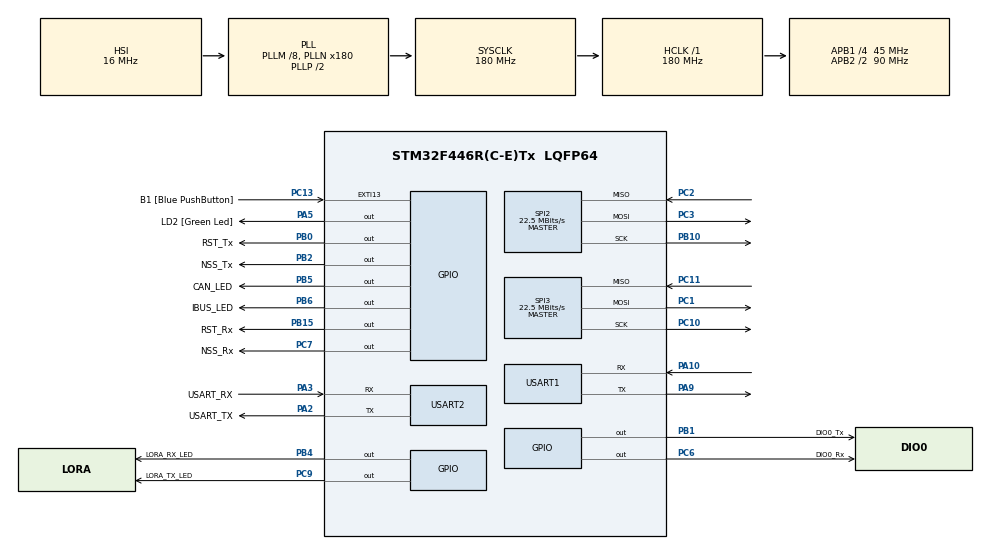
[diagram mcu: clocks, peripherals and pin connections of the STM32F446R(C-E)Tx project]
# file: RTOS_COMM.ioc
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Dma.Request0=USART1_RX
Dma.USART1_RX.0.Direction=DMA_PERIPH_TO_MEMORY
Dma.USART1_RX.0.FIFOMode=DMA_FIFOMODE_DISABLE
Dma.USART1_RX.0.Instance=DMA2_Stream2
Dma.USART1_RX.0.MemDataAlignment=DMA_MDATAALIGN_BYTE
Dma.USART1_RX.0.MemInc=DMA_MINC_ENABLE
Dma.USART1_RX.0.Mode=DMA_NORMAL
Dma.USART1_RX.0.PeriphDataAlignment=DMA_PDATAALIGN_BYTE
Dma.USART1_RX.0.PeriphInc=DMA_PINC_DISABLE
Dma.USART1_RX.0.Priority=DMA_PRIORITY_MEDIUM
FREERTOS.INCLUDE_vTaskDelayUntil=1
FREERTOS.INCLUDE_xTaskAbortDelay=1
FREERTOS.Tasks01=defaultTask,0,128,StartDefaultTask,Default,NULL,Dynamic,NULL,NULL;myTask02,2,1024,StartTask02,Default,NULL,Dynamic,NULL,NULL;myTask03,1,1024,StartTask03,Default,NULL,Dynamic,NULL,NULL;myTask04,0,1024,StartTask04,Default,NULL,Dynamic,NULL,NULL;myTask05,-2,128,StartTask05,Default,NULL,Dynamic,NULL,NULL
FREERTOS.configUSE_NEWLIB_REENTRANT=1
Mcu.Family=STM32F4
Mcu.Name=STM32F446R(C-E)Tx
Mcu.Package=LQFP64
NVIC.DMA2_Stream2_IRQn=true\:5\:0\:false\:false\:true\:true\:false\:true\:true
NVIC.PriorityGroup=NVIC_PRIORITYGROUP_4
NVIC.TIM1_UP_TIM10_IRQn=true\:15\:0\:false\:false\:true\:false\:false\:true\:true
NVIC.TimeBase=TIM1_UP_TIM10_IRQn
NVIC.TimeBaseIP=TIM1
PA10.Mode=Asynchronous
PA10.Signal=USART1_RX
PA13.GPIO_Label=TMS
PA13.Mode=Serial_Wire
PA13.Signal=SYS_JTMS-SWDIO
PA14.GPIO_Label=TCK
PA14.Mode=Serial_Wire
PA14.Signal=SYS_JTCK-SWCLK
PA2.GPIO_Label=USART_TX
PA2.Mode=Asynchronous
PA2.Signal=USART2_TX
PA3.GPIO_Label=USART_RX
PA3.Mode=Asynchronous
PA3.Signal=USART2_RX
PA5.GPIO_Label=LD2 [Green Led]
PA5.Signal=GPIO_Output
PA9.Mode=Asynchronous
PA9.Signal=USART1_TX
PB0.GPIO_Label=RST_Tx
PB0.Signal=GPIO_Output
PB1.GPIO_Label=DIO0_Tx
PB1.Signal=GPIO_Output
PB10.Mode=Full_Duplex_Master
PB10.Signal=SPI2_SCK
PB15.GPIO_Label=RST_Rx
PB15.Signal=GPIO_Output
PB2.GPIO_Label=NSS_Tx
PB2.Signal=GPIO_Output
PB3.GPIO_Label=SWO
PB3.Signal=SYS_JTDO-SWO
PB4.GPIO_Label=LORA_RX_LED
PB4.Signal=GPIO_Output
PB5.GPIO_Label=CAN_LED
PB5.Signal=GPIO_Output
PB6.GPIO_Label=IBUS_LED
PB6.Signal=GPIO_Output
PC1.Mode=Full_Duplex_Master
PC1.Signal=SPI3_MOSI
PC10.Mode=Full_Duplex_Master
PC10.Signal=SPI3_SCK
PC11.Mode=Full_Duplex_Master
PC11.Signal=SPI3_MISO
PC13.GPIO_Label=B1 [Blue PushButton]
PC13.GPIO_ModeDefaultEXTI=GPIO_MODE_IT_FALLING
PC13.Signal=GPXTI13
PC14-OSC32_IN.Mode=LSE-External-Oscillator
PC14-OSC32_IN.Signal=RCC_OSC32_IN
PC15-OSC32_OUT.Mode=LSE-External-Oscillator
PC15-OSC32_OUT.Signal=RCC_OSC32_OUT
PC2.Mode=Full_Duplex_Master
PC2.Signal=SPI2_MISO
PC3.Mode=Full_Duplex_Master
PC3.Signal=SPI2_MOSI
PC6.GPIO_Label=DIO0_Rx
PC6.Signal=GPIO_Output
PC7.GPIO_Label=NSS_Rx
PC7.Signal=GPIO_Output
PC9.GPIO_Label=LORA_TX_LED
PC9.Signal=GPIO_Output
PH0-OSC_IN.Mode=HSE-External-Oscillator
PH0-OSC_IN.Signal=RCC_OSC_IN
PH1-OSC_OUT.Mode=HSE-External-Oscillator
PH1-OSC_OUT.Signal=RCC_OSC_OUT
ProjectManager.HeapSize=0x200
ProjectManager.StackSize=0x400
ProjectManager.TargetToolchain=STM32CubeIDE
RCC.48MHZClocksFreq_Value=84000000
RCC.AHBFreq_Value=180000000
RCC.APB1CLKDivider=RCC_HCLK_DIV4
RCC.APB1Freq_Value=45000000
RCC.APB1TimFreq_Value=90000000
RCC.APB2CLKDivider=RCC_HCLK_DIV2
RCC.APB2Freq_Value=90000000
RCC.APB2TimFreq_Value=180000000
RCC.CortexFreq_Value=180000000
RCC.FLatency-AdvancedSettings=FLASH_LATENCY_5
RCC.HCLKFreq_Value=180000000
RCC.HSE_VALUE=8000000
RCC.HSI_VALUE=16000000
RCC.PLLM=8
RCC.PLLN=180
RCC.SYSCLKFreq_VALUE=180000000
RCC.SYSCLKSource=RCC_SYSCLKSOURCE_PLLCLK
RCC.USBFreq_Value=180000000
RCC.VCOOutputFreq_Value=360000000
SPI2.BaudRatePrescaler=SPI_BAUDRATEPRESCALER_2
SPI2.CalculateBaudRate=22.5 MBits/s
SPI2.Direction=SPI_DIRECTION_2LINES
SPI2.Mode=SPI_MODE_MASTER
SPI2.VirtualType=VM_MASTER
SPI3.BaudRatePrescaler=SPI_BAUDRATEPRESCALER_2
SPI3.CalculateBaudRate=22.5 MBits/s
SPI3.Direction=SPI_DIRECTION_2LINES
SPI3.Mode=SPI_MODE_MASTER
SPI3.VirtualType=VM_MASTER
USART1.VirtualMode=VM_ASYNC
USART2.VirtualMode=VM_ASYNC
VP_FREERTOS_VS_CMSIS_V1.Mode=CMSIS_V1
VP_SYS_VS_tim1.Mode=TIM1
board=NUCLEO-F446RE

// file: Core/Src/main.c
/* USER CODE BEGIN Header */
/**
  ******************************************************************************
  * @file           : main.c
  * @brief          : Main program body
  ******************************************************************************
  * @attention
  *
  * Copyright (c) 2025 STMicroelectronics.
  * All rights reserved.
  *
  * This software is licensed under terms that can be found in the LICENSE file
  * in the root directory of this software component.
  * If no LICENSE file comes with this software, it is provided AS-IS.
  *
  ******************************************************************************
  */
/* USER CODE END Header */
#include "main.h"
#include "cmsis_os.h"

/* USER CODE BEGIN Includes */
#include "J3_IBUS_FLYSKY.h"
#include "stdint.h"
#include "stdbool.h"
#include "string.h"
#include "stdio.h"
#include "math.h"
#include "LoRa.h"
/* USER CODE END Includes */

/* USER CODE BEGIN PD */
bool switch_temp=false;
/* USER CODE END PD */

SPI_HandleTypeDef hspi2;
SPI_HandleTypeDef hspi3;

UART_HandleTypeDef huart1;
UART_HandleTypeDef huart2;
DMA_HandleTypeDef hdma_usart1_rx;

osThreadId myTask01Handle;
osThreadId myTask02Handle;
osThreadId myTask03Handle;
osThreadId myTask04Handle;
osThreadId myTask05Handle;
/* USER CODE BEGIN PV */
TRxIBus *RxIBus;
LoRa LoRa_Receive;  //Receive Instance
LoRa LoRa_Transmit; //Transmit Instance
/* USER CODE END PV */

void SystemClock_Config(void);
static void MX_GPIO_Init(void);
static void MX_DMA_Init(void);
static void MX_SPI2_Init(void);
static void MX_SPI3_Init(void);
static void MX_USART1_UART_Init(void);
static void MX_USART2_UART_Init(void);

void StartTask01(void const * argument);
void StartTask02(void const * argument);
void StartTask03(void const * argument);
void StartTask04(void const * argument);
void StartTask05(void const * argument);

/* USER CODE BEGIN PFP */
bool extract_and_sum_data(void);
void channel_value(void);
void IBUS_data_print(void);
void LORA_data_print(void);
/* USER CODE END PFP */

/* USER CODE BEGIN 0 */
#define TEMP_BUFFER_SIZE 1024  // maximum size for temp_buffer
#define TARGET_SIZE 32
char temp_buffer[TEMP_BUFFER_SIZE];  // global buffer to store the formatted output
uint16_t temp_buffer_index = 0;  // index to track where we are in the temp_buffer
#define FRAME_SIZE 32
uint16_t expected_result = 0;
uint32_t result=0;

/*Global Channel Data*/
uint16_t channel_1= 0;
uint16_t channel_2= 0;
uint16_t channel_3= 0;
uint16_t channel_4= 0;
uint16_t channel_5= 0;
uint16_t channel_6= 0;
uint16_t channel_7= 0;
uint16_t channel_8= 0;
uint16_t channel_9= 0;
uint16_t channel_10= 0;

//LORA Global Variables
uint8_t read_data[128];
uint8_t send_data[128];
uint8_t packet_size = 0;

/* USER CODE END 0 */

int main(void)
{

  /* MCU Configuration--------------------------------------------------------*/

  /* Reset of all peripherals, Initializes the Flash interface and the Systick. */
  HAL_Init();

  /* Configure the system clock */
  SystemClock_Config();

  /* Initialize all configured peripherals */
  MX_GPIO_Init();
  MX_DMA_Init();
  MX_SPI2_Init();
  MX_SPI3_Init();
  MX_USART1_UART_Init();
  MX_USART2_UART_Init();
  /* USER CODE BEGIN 2 */
    RxIBus = J3_IBUS_new(&huart1, 14);
    HAL_UART_Receive_DMA(&huart1, RxIBus->buffer, 64);

    //LORA Initialization
    /*LoRa_Receive = newLoRa();
    LoRa_Transmit = newLoRa();

    //LORA pins initialization
  	LoRa_Receive.hSPIx                 = &hspi3;
  	LoRa_Receive.CS_port               = NSS_Tx_GPIO_Port;
  	LoRa_Receive.CS_pin                = NSS_Tx_Pin;
  	LoRa_Receive.reset_port            = RST_Tx_GPIO_Port;
  	LoRa_Receive.reset_pin             = RST_Tx_Pin;
  	LoRa_Receive.DIO0_port			   =   DIO0_Tx_GPIO_Port;
  	LoRa_Receive.DIO0_pin			   = DIO0_Tx_Pin;

  	LoRa_Receive.frequency             = 450;					    // default = 433 MHz
  	LoRa_Receive.spredingFactor        = SF_7;					   // default = SF_7
  	LoRa_Receive.bandWidth			   = BW_125KHz;				  // default = BW_125KHz
  	LoRa_Receive.crcRate			   = CR_4_5;				 // default = CR_4_5
  	LoRa_Receive.power			       = POWER_20db;			// default = 20db
  	LoRa_Receive.overCurrentProtection = 120; 				   // default = 100 mA
  	LoRa_Receive.preamble			   = 10;	              // default = 8;

  	LoRa_Transmit.hSPIx                 = &hspi2;
  	LoRa_Transmit.CS_port               = NSS_Rx_GPIO_Port;
  	LoRa_Transmit.CS_pin                = NSS_Rx_Pin;
  	LoRa_Transmit.reset_port            = RST_Rx_GPIO_Port;
  	LoRa_Transmit.reset_pin             = RST_Rx_Pin;
  	LoRa_Transmit.DIO0_port			 	= DIO0_Rx_GPIO_Port;
  	LoRa_Transmit.DIO0_pin				= DIO0_Rx_Pin;

  	LoRa_Transmit.frequency             = 433;							 // default = 433 MHz
  	LoRa_Transmit.spredingFactor        = SF_7;							// default = SF_7
  	LoRa_Transmit.bandWidth			    = BW_125KHz;				   // default = BW_125KHz
  	LoRa_Transmit.crcRate				= CR_4_5;					  // default = CR_4_5
  	LoRa_Transmit.power			        = POWER_20db;				 // default = 20db
  	LoRa_Transmit.overCurrentProtection = 120; 					    // default = 100 mA
  	LoRa_Transmit.preamble				= 10;

  	LoRa_reset(&LoRa_Receive);
  	LoRa_reset(&LoRa_Transmit);
  	LoRa_init(&LoRa_Receive);
  	LoRa_init(&LoRa_Transmit);
  	*/

  	HAL_UART_Transmit(&huart2, (uint8_t*)"Communication Dharma STM32 RTOS !\n", strlen("Communication Dharma STM32 RTOS !\n"), HAL_MAX_DELAY);
  /* USER CODE END 2 */

  /* Create the thread(s) */
  /* definition and creation of defaultTask */

  if(switch_temp==true){
	  /* definition and creation of myTask02 */
	  osThreadDef(myTask02, StartTask02, osPriorityHigh, 0, 1024); //LORA Receive
	  myTask02Handle = osThreadCreate(osThread(myTask02), NULL);

	  /* definition and creation of myTask04 */
	  osThreadDef(myTask04, StartTask04, osPriorityBelowNormal, 0, 1024); //Lora Transmit
	  myTask04Handle = osThreadCreate(osThread(myTask04), NULL);

  }

  else {

	  /* definition and creation of myTask03 */
	  osThreadDef(myTask03, StartTask03, osPriorityHigh, 0, 1024); //IBUS
	  myTask03Handle = osThreadCreate(osThread(myTask03), NULL);

	  /* definition and creation of myTask01 */
	  osThreadDef(myTask01, StartTask01, osPriorityLow, 0, 1024); //Debugging IBUS
	  myTask01Handle = osThreadCreate(osThread(myTask01), NULL);
  }

  /* definition and creation of myTask05 */
  osThreadDef(myTask05, StartTask05, osPriorityNormal, 0, 128);// Simulating CAN
  myTask05Handle = osThreadCreate(osThread(myTask05), NULL);

  /* Start scheduler */
  osKernelStart();

  /* We should never get here as control is now taken by the scheduler */

  /* Infinite loop */
  /* USER CODE BEGIN WHILE */
  while (1)
  {
  }
  /* USER CODE END 3 */
}

void SystemClock_Config(void)
{
  RCC_OscInitTypeDef RCC_OscInitStruct = {0};
  RCC_ClkInitTypeDef RCC_ClkInitStruct = {0};

  /** Configure the main internal regulator output voltage
  */
  __HAL_RCC_PWR_CLK_ENABLE();
  __HAL_PWR_VOLTAGESCALING_CONFIG(PWR_REGULATOR_VOLTAGE_SCALE1);

  /** Initializes the RCC Oscillators according to the specified parameters
  * in the RCC_OscInitTypeDef structure.
  */
  RCC_OscInitStruct.OscillatorType = RCC_OSCILLATORTYPE_HSI;
  RCC_OscInitStruct.HSIState = RCC_HSI_ON;
  RCC_OscInitStruct.HSICalibrationValue = RCC_HSICALIBRATION_DEFAULT;
  RCC_OscInitStruct.PLL.PLLState = RCC_PLL_ON;
  RCC_OscInitStruct.PLL.PLLSource = RCC_PLLSOURCE_HSI;
  RCC_OscInitStruct.PLL.PLLM = 8;
  RCC_OscInitStruct.PLL.PLLN = 180;
  RCC_OscInitStruct.PLL.PLLP = RCC_PLLP_DIV2;
  RCC_OscInitStruct.PLL.PLLQ = 2;
  RCC_OscInitStruct.PLL.PLLR = 2;
  if (HAL_RCC_OscConfig(&RCC_OscInitStruct) != HAL_OK)
  {
    Error_Handler();
  }

  /** Activate the Over-Drive mode
  */
  if (HAL_PWREx_EnableOverDrive() != HAL_OK)
  {
    Error_Handler();
  }

  /** Initializes the CPU, AHB and APB buses clocks
  */
  RCC_ClkInitStruct.ClockType = RCC_CLOCKTYPE_HCLK|RCC_CLOCKTYPE_SYSCLK
                              |RCC_CLOCKTYPE_PCLK1|RCC_CLOCKTYPE_PCLK2;
  RCC_ClkInitStruct.SYSCLKSource = RCC_SYSCLKSOURCE_PLLCLK;
  RCC_ClkInitStruct.AHBCLKDivider = RCC_SYSCLK_DIV1;
  RCC_ClkInitStruct.APB1CLKDivider = RCC_HCLK_DIV4;
  RCC_ClkInitStruct.APB2CLKDivider = RCC_HCLK_DIV2;

  if (HAL_RCC_ClockConfig(&RCC_ClkInitStruct, FLASH_LATENCY_5) != HAL_OK)
  {
    Error_Handler();
  }
}

static void MX_SPI2_Init(void)
{

  /* SPI2 parameter configuration*/
  hspi2.Instance = SPI2;
  hspi2.Init.Mode = SPI_MODE_MASTER;
  hspi2.Init.Direction = SPI_DIRECTION_2LINES;
  hspi2.Init.DataSize = SPI_DATASIZE_8BIT;
  hspi2.Init.CLKPolarity = SPI_POLARITY_LOW;
  hspi2.Init.CLKPhase = SPI_PHASE_1EDGE;
  hspi2.Init.NSS = SPI_NSS_SOFT;
  hspi2.Init.BaudRatePrescaler = SPI_BAUDRATEPRESCALER_2;
  hspi2.Init.FirstBit = SPI_FIRSTBIT_MSB;
  hspi2.Init.TIMode = SPI_TIMODE_DISABLE;
  hspi2.Init.CRCCalculation = SPI_CRCCALCULATION_DISABLE;
  hspi2.Init.CRCPolynomial = 10;
  if (HAL_SPI_Init(&hspi2) != HAL_OK)
  {
    Error_Handler();
  }

}

static void MX_SPI3_Init(void)
{

  /* SPI3 parameter configuration*/
  hspi3.Instance = SPI3;
  hspi3.Init.Mode = SPI_MODE_MASTER;
  hspi3.Init.Direction = SPI_DIRECTION_2LINES;
  hspi3.Init.DataSize = SPI_DATASIZE_8BIT;
  hspi3.Init.CLKPolarity = SPI_POLARITY_LOW;
  hspi3.Init.CLKPhase = SPI_PHASE_1EDGE;
  hspi3.Init.NSS = SPI_NSS_SOFT;
  hspi3.Init.BaudRatePrescaler = SPI_BAUDRATEPRESCALER_2;
  hspi3.Init.FirstBit = SPI_FIRSTBIT_MSB;
  hspi3.Init.TIMode = SPI_TIMODE_DISABLE;
  hspi3.Init.CRCCalculation = SPI_CRCCALCULATION_DISABLE;
  hspi3.Init.CRCPolynomial = 10;
  if (HAL_SPI_Init(&hspi3) != HAL_OK)
  {
    Error_Handler();
  }

}

static void MX_USART1_UART_Init(void)
{

  huart1.Instance = USART1;
  huart1.Init.BaudRate = 115200;
  huart1.Init.WordLength = UART_WORDLENGTH_8B;
  huart1.Init.StopBits = UART_STOPBITS_1;
  huart1.Init.Parity = UART_PARITY_NONE;
  huart1.Init.Mode = UART_MODE_TX_RX;
  huart1.Init.HwFlowCtl = UART_HWCONTROL_NONE;
  huart1.Init.OverSampling = UART_OVERSAMPLING_16;
  if (HAL_UART_Init(&huart1) != HAL_OK)
  {
    Error_Handler();
  }

}

static void MX_USART2_UART_Init(void)
{

  huart2.Instance = USART2;
  huart2.Init.BaudRate = 115200;
  huart2.Init.WordLength = UART_WORDLENGTH_8B;
  huart2.Init.StopBits = UART_STOPBITS_1;
  huart2.Init.Parity = UART_PARITY_NONE;
  huart2.Init.Mode = UART_MODE_TX_RX;
  huart2.Init.HwFlowCtl = UART_HWCONTROL_NONE;
  huart2.Init.OverSampling = UART_OVERSAMPLING_16;
  if (HAL_UART_Init(&huart2) != HAL_OK)
  {
    Error_Handler();
  }

}

static void MX_DMA_Init(void)
{

  /* DMA controller clock enable */
  __HAL_RCC_DMA2_CLK_ENABLE();

  /* DMA interrupt init */
  /* DMA2_Stream2_IRQn interrupt configuration */
  HAL_NVIC_SetPriority(DMA2_Stream2_IRQn, 5, 0);
  HAL_NVIC_EnableIRQ(DMA2_Stream2_IRQn);

}

static void MX_GPIO_Init(void)
{
  GPIO_InitTypeDef GPIO_InitStruct = {0};

  /* GPIO Ports Clock Enable */
  __HAL_RCC_GPIOC_CLK_ENABLE();
  __HAL_RCC_GPIOH_CLK_ENABLE();
  __HAL_RCC_GPIOA_CLK_ENABLE();
  __HAL_RCC_GPIOB_CLK_ENABLE();

  /*Configure GPIO pin Output Level */
  HAL_GPIO_WritePin(LD2_GPIO_Port, LD2_Pin, GPIO_PIN_RESET);

  /*Configure GPIO pin Output Level */
  HAL_GPIO_WritePin(GPIOB, RST_Tx_Pin|DIO0_Tx_Pin|NSS_Tx_Pin|RST_Rx_Pin
                          |LORA_RX_LED_Pin|CAN_LED_Pin|IBUS_LED_Pin, GPIO_PIN_RESET);

  /*Configure GPIO pin Output Level */
  HAL_GPIO_WritePin(GPIOC, DIO0_Rx_Pin|NSS_Rx_Pin|LORA_TX_LED_Pin, GPIO_PIN_RESET);

  /*Configure GPIO pin : B1_Pin */
  GPIO_InitStruct.Pin = B1_Pin;
  GPIO_InitStruct.Mode = GPIO_MODE_IT_FALLING;
  GPIO_InitStruct.Pull = GPIO_NOPULL;
  HAL_GPIO_Init(B1_GPIO_Port, &GPIO_InitStruct);

  /*Configure GPIO pin : LD2_Pin */
  GPIO_InitStruct.Pin = LD2_Pin;
  GPIO_InitStruct.Mode = GPIO_MODE_OUTPUT_PP;
  GPIO_InitStruct.Pull = GPIO_NOPULL;
  GPIO_InitStruct.Speed = GPIO_SPEED_FREQ_LOW;
  HAL_GPIO_Init(LD2_GPIO_Port, &GPIO_InitStruct);

  /*Configure GPIO pins : RST_Tx_Pin DIO0_Tx_Pin NSS_Tx_Pin RST_Rx_Pin
                           LORA_RX_LED_Pin CAN_LED_Pin IBUS_LED_Pin */
  GPIO_InitStruct.Pin = RST_Tx_Pin|DIO0_Tx_Pin|NSS_Tx_Pin|RST_Rx_Pin
                          |LORA_RX_LED_Pin|CAN_LED_Pin|IBUS_LED_Pin;
  GPIO_InitStruct.Mode = GPIO_MODE_OUTPUT_PP;
  GPIO_InitStruct.Pull = GPIO_NOPULL;
  GPIO_InitStruct.Speed = GPIO_SPEED_FREQ_LOW;
  HAL_GPIO_Init(GPIOB, &GPIO_InitStruct);

  /*Configure GPIO pins : DIO0_Rx_Pin NSS_Rx_Pin LORA_TX_LED_Pin */
  GPIO_InitStruct.Pin = DIO0_Rx_Pin|NSS_Rx_Pin|LORA_TX_LED_Pin;
  GPIO_InitStruct.Mode = GPIO_MODE_OUTPUT_PP;
  GPIO_InitStruct.Pull = GPIO_NOPULL;
  GPIO_InitStruct.Speed = GPIO_SPEED_FREQ_LOW;
  HAL_GPIO_Init(GPIOC, &GPIO_InitStruct);

}

/* USER CODE BEGIN Header_StartDefaultTask */

/* USER CODE BEGIN Header_StartTask02 */

/* USER CODE END Header_StartTask01 */

/* Debugging IBUS */
void StartTask01(void const * argument)
{
  /* USER CODE BEGIN StartTask01 */
  /* Infinite loop */
  for(;;)
  {
	  IBUS_data_print();

	//HAL_UART_Transmit(&huart2, (uint8_t*)"Task 1 !\n", strlen("Task 1 !\n"), HAL_MAX_DELAY);
	  osDelay(100);
  }
  /* USER CODE END StartTask01 */
}

/* USER CODE END Header_StartTask01 */

/* LORA Receiving */
void StartTask02(void const * argument)
{
  /* USER CODE BEGIN StartTask02 */
  /* Infinite loop */
  for(;;)
  {
	uint8_t packet_size = 0;
	LoRa_startReceiving(&LoRa_Receive);
	packet_size = LoRa_receive(&LoRa_Receive, read_data, 128);

	HAL_UART_Transmit(&huart2, (uint8_t*)read_data, packet_size,HAL_MAX_DELAY);
	HAL_UART_Transmit(&huart2,(uint8_t*)"\n", 1,HAL_MAX_DELAY);

	//HAL_UART_Transmit(&huart2, (uint8_t*)"Task 2 !\n", strlen("Task 2 !\n"), HAL_MAX_DELAY);
    osDelay(130);
  }
  /* USER CODE END StartTask02 */
}

/* IBUS Data Receiving */
void StartTask03(void const * argument)
{
  /* USER CODE BEGIN StartTask03 */
  /* Infinite loop */
  for(;;)
  {
	copy_buffer(RxIBus->buffer, 64); //parsing data from IBUS receiver

	//parsing data and check data via checksum
	if(extract_and_sum_data()==true){
	channel_value(); //channel data parsing
	 }
	J3_IBUS_RequestNewData(RxIBus); //getting new data via DMA

	//HAL_UART_Transmit(&huart2, (uint8_t*)"Task 3 !\n", strlen("Task 3 !\n"), HAL_MAX_DELAY);

    osDelay(5);
  }
  /* USER CODE END StartTask03 */
}

/* LORA Data Transmitting */
void StartTask04(void const * argument)
{
  /* USER CODE BEGIN StartTask04 */
  /* Infinite loop */
  for(;;)
  {

	//demo value
	    for (int i = 0; i <= 120; i++) {
	        send_data[i] = 'a' + (i % 26);
	    }

	 LoRa_transmit(&LoRa_Transmit, send_data, 128, 500);

	 //HAL_UART_Transmit(&huart2, (uint8_t*)"Task 4 !\n", strlen("Task 4 !\n"), HAL_MAX_DELAY);
	 osDelay(50);
  }
  /* USER CODE END StartTask04 */
}

/* Mode */
void StartTask05(void const * argument)
{
  /* USER CODE BEGIN StartTask05 */
  /* Infinite loop */
  for(;;)
  {

	HAL_UART_Transmit(&huart2, (uint8_t*)"CAN Simulate!\n", strlen("CAN Simulate!\n"), HAL_MAX_DELAY);
    osDelay(100);
  }
  /* USER CODE END StartTask05 */
}

void HAL_TIM_PeriodElapsedCallback(TIM_HandleTypeDef *htim)
{
  if (htim->Instance == TIM1) {
    HAL_IncTick();
  }
}

bool extract_and_sum_data(void) {
	//local parsing variables

    uint32_t sum = 0;
    uint16_t num_values = 0;
    uint16_t num_values_x = 0;
    uint16_t last_two_values[2] = {0};

    for (uint16_t i = 0; i < temp_buffer_index - 3; i++) {
        if (temp_buffer[i] == '0' && temp_buffer[i + 1] == 'x') {

            char hex_value[3] = {};
            hex_value[0] = temp_buffer[i + 2];
            hex_value[1] = temp_buffer[i + 3];

            uint8_t value = (uint8_t)strtol(hex_value, NULL, 16);
            num_values_x++;
           if (num_values_x == 31) {
                last_two_values[0] = value;
            }
            if (num_values_x == 32) {
                last_two_values[1] = value;
            }

            i += 3;

            if (num_values_x >= 32) {
                break;
            }
        }
    }

    for (uint16_t i = 0; i < temp_buffer_index - 3; i++) {
        if (temp_buffer[i] == '0' && temp_buffer[i + 1] == 'x') {
            char hex_value[3] = {};
            hex_value[0] = temp_buffer[i + 2];
            hex_value[1] = temp_buffer[i + 3];

            uint8_t value = (uint8_t)strtol(hex_value, NULL, 16);
            sum += value;
            num_values++;

            i += 3;
            if (num_values >= 30) {
                break;
            }
        }
    }

    result = 0xFFFF - sum;

    expected_result = (last_two_values[1] << 8) | last_two_values[0];

    //optional, debugging statement

    /*char result_str[40];
    char result_str_2[40];

    snprintf(result_str, sizeof(result_str), "Result: 0x%04X", result);
    HAL_UART_Transmit(&huart2, (uint8_t*)result_str, strlen(result_str), HAL_MAX_DELAY);
    HAL_UART_Transmit(&huart2, "\r\n", 2, HAL_MAX_DELAY);

    snprintf(result_str_2, sizeof(result_str), "Expected: 0x%04X", expected_result);
    HAL_UART_Transmit(&huart2, (uint8_t*)result_str, strlen(result_str), HAL_MAX_DELAY);
    HAL_UART_Transmit(&huart2, "\r\n", 2, HAL_MAX_DELAY);  // Send newline after expected result*/

    if (result == expected_result) {
        //HAL_UART_Transmit(&huart2, "Match!\r\n", 8, HAL_MAX_DELAY);
    	return true;
    } else {
        //HAL_UART_Transmit(&huart2, "No Match!\r\n", 11, HAL_MAX_DELAY);
        //Error_Handler();
    	return false;
    }
}

void channel_value() {
    uint16_t num_values_x = 0;
    uint16_t channel_1_hex[2] = {0};
    uint16_t channel_2_hex[2] = {0};
    uint16_t channel_3_hex[2] = {0};
    uint16_t channel_4_hex[2] = {0};
    uint16_t channel_5_hex[2] = {0};
    uint16_t channel_6_hex[2] = {0};
    uint16_t channel_7_hex[2] = {0};
    uint16_t channel_8_hex[2] = {0};
    uint16_t channel_9_hex[2] = {0};
    uint16_t channel_10_hex[2] = {0};

    for (uint16_t i = 0; i < temp_buffer_index - 3; i++) {
        if (temp_buffer[i] == '0' && temp_buffer[i + 1] == 'x') {

            char hex_value[3] = {};
            hex_value[0] = temp_buffer[i + 2];
            hex_value[1] = temp_buffer[i + 3];

            uint8_t value = (uint8_t)strtol(hex_value, NULL, 16);
            num_values_x++;

            //channel 1
            if (num_values_x == 3) {
            	channel_1_hex[0] = value;
            }
            if (num_values_x == 4) {
            	channel_1_hex[1] = value;
            }
            //channel 2
            if (num_values_x == 5) {
            	channel_2_hex[0] = value;
            }
            if (num_values_x == 6) {
            	channel_2_hex[1] = value;
            }
            //channel 3
            if (num_values_x == 7) {
            	channel_3_hex[0] = value;
            }
            if (num_values_x == 8) {
            	channel_3_hex[1] = value;
            }
            //channel 4
            if (num_values_x == 9) {
            	channel_4_hex[0] = value;
            }
            if (num_values_x == 10) {
            	channel_4_hex[1] = value;
            }
            //channel 5
            if (num_values_x == 11) {
            	channel_5_hex[0] = value;
            }
            if (num_values_x == 12) {
            	channel_5_hex[1] = value;
            }
            //channel 6
            if (num_values_x == 13) {
            	channel_6_hex[0] = value;
            }
            if (num_values_x == 14) {
            	channel_6_hex[1] = value;
            }
            //channel 7
            if (num_values_x == 15) {
            	channel_7_hex[0] = value;
            }
            if (num_values_x == 16) {
            	channel_7_hex[1] = value;
            }
            //channel 8
            if (num_values_x == 17) {
            	channel_8_hex[0] = value;
            }
            if (num_values_x == 18) {
            	channel_8_hex[1] = value;
            }
            //channel 9
            if (num_values_x == 19) {
            	channel_9_hex[0] = value;
            }
            if (num_values_x == 20) {
            	channel_9_hex[1] = value;
            }
            //channel 10
            if (num_values_x == 21) {
            	channel_10_hex[0] = value;
            }
            if (num_values_x == 22) {
            	channel_10_hex[1] = value;
            }

            i += 3;

            if (num_values_x >= 25) {
                break;
            }
        }
    }

    // Combine the two last values to get the expected result in little-endian format
    channel_1 = (channel_1_hex[1] << 8) | channel_1_hex[0];
    channel_2 = (channel_2_hex[1] << 8) | channel_2_hex[0];
    channel_3 = (channel_3_hex[1] << 8) | channel_3_hex[0];
    channel_4 = (channel_4_hex[1] << 8) | channel_4_hex[0];
    channel_5 = (channel_5_hex[1] << 8) | channel_5_hex[0];
    channel_6 = (channel_6_hex[1] << 8) | channel_6_hex[0];
    channel_7 = (channel_7_hex[1] << 8) | channel_7_hex[0];
    channel_8 = (channel_8_hex[1] << 8) | channel_8_hex[0];
    channel_9 = (channel_9_hex[1] << 8) | channel_9_hex[0];
    channel_10 = (channel_10_hex[1] << 8) | channel_10_hex[0];

    //optional  debugging values

    // Format the expected result as a decimal number for UART transmission
    /*char result_str_1[40];
    char result_str_2[40];
    char result_str_3[40];
    char result_str_4[40];
    char result_str_5[40];
    char result_str_6[40];
    char result_str_7[40];
    char result_str_8[40];
    char result_str_9[40];
    char result_str_10[40];

    snprintf(result_str_1, sizeof(result_str_1), "Channel 1: %d", channel_1);
    snprintf(result_str_2, sizeof(result_str_2), "Channel 2: %d", channel_2);
    snprintf(result_str_3, sizeof(result_str_3), "Channel 3: %d", channel_3);
    snprintf(result_str_4, sizeof(result_str_4), "Channel 4: %d", channel_4);
    snprintf(result_str_5, sizeof(result_str_5), "Channel 5: %d", channel_5);
    snprintf(result_str_6, sizeof(result_str_6), "Channel 6: %d", channel_6);
    snprintf(result_str_7, sizeof(result_str_7), "Channel 7: %d", channel_7);
    snprintf(result_str_8, sizeof(result_str_8), "Channel 8: %d", channel_8);
    snprintf(result_str_9, sizeof(result_str_9), "Channel 9: %d", channel_9);
    snprintf(result_str_10, sizeof(result_str_10), "Channel 10: %d", channel_10);

    // Send the results via UART
    HAL_UART_Transmit(&huart2, (uint8_t*)result_str_1, strlen(result_str_1), HAL_MAX_DELAY);
    HAL_UART_Transmit(&huart2, "\r\n", 2, HAL_MAX_DELAY);  // Send newline

    HAL_UART_Transmit(&huart2, (uint8_t*)result_str_2, strlen(result_str_2), HAL_MAX_DELAY);
    HAL_UART_Transmit(&huart2, "\r\n", 2, HAL_MAX_DELAY);  // Send newline

    HAL_UART_Transmit(&huart2, (uint8_t*)result_str_3, strlen(result_str_3), HAL_MAX_DELAY);
    HAL_UART_Transmit(&huart2, "\r\n", 2, HAL_MAX_DELAY);  // Send newline

    HAL_UART_Transmit(&huart2, (uint8_t*)result_str_4, strlen(result_str_4), HAL_MAX_DELAY);
    HAL_UART_Transmit(&huart2, "\r\n", 2, HAL_MAX_DELAY);  // Send newline

    HAL_UART_Transmit(&huart2, (uint8_t*)result_str_5, strlen(result_str_5), HAL_MAX_DELAY);
    HAL_UART_Transmit(&huart2, "\r\n", 2, HAL_MAX_DELAY);  // Send newline

    HAL_UART_Transmit(&huart2, (uint8_t*)result_str_6, strlen(result_str_6), HAL_MAX_DELAY);
    HAL_UART_Transmit(&huart2, "\r\n", 2, HAL_MAX_DELAY);  // Send newline

    HAL_UART_Transmit(&huart2, (uint8_t*)result_str_7, strlen(result_str_7), HAL_MAX_DELAY);
    HAL_UART_Transmit(&huart2, "\r\n", 2, HAL_MAX_DELAY);  // Send newline

    HAL_UART_Transmit(&huart2, (uint8_t*)result_str_8, strlen(result_str_8), HAL_MAX_DELAY);
    HAL_UART_Transmit(&huart2, "\r\n", 2, HAL_MAX_DELAY);  // Send newline

    HAL_UART_Transmit(&huart2, (uint8_t*)result_str_9, strlen(result_str_9), HAL_MAX_DELAY);
    HAL_UART_Transmit(&huart2, "\r\n", 2, HAL_MAX_DELAY);  // Send newline

    HAL_UART_Transmit(&huart2, (uint8_t*)result_str_10, strlen(result_str_10), HAL_MAX_DELAY);
    HAL_UART_Transmit(&huart2, "\r\n", 2, HAL_MAX_DELAY);  // Send newline*/

}

void copy_buffer(uint8_t *buffer, uint16_t size) {
	char temp[5];  // Temporary buffer to format each byte
	    uint16_t start_index = 0;  // Index where the specific frame starts

	    // Clear the temp_buffer before storing new data
	    memset(temp_buffer, 0, TEMP_BUFFER_SIZE);
	    temp_buffer_index = 0;  // Reset the index to start fresh

	    // Loop through the buffer to find the specific frame, in this case from 0x20 (0x20 0x40 ... 0xF3)
	    for (uint16_t i = 0; i < size; i++) {
	        // Check if we are at the beginning of the specific frame we want to print
	        if (buffer[i] == 0x20 && i + TARGET_SIZE <= size) {  // Look for the start of the frame
	            start_index = i;
	            break;
	        }
	    }

	    // Loop through the specific part of the buffer and format it
	    for (uint16_t i = start_index; i < start_index + TARGET_SIZE; i++) {
	        sprintf(temp, "0x%02X", buffer[i]);

	        // Copy the formatted data (temp) into the global temp_buffer
	        uint16_t len = strlen(temp);
	        if (temp_buffer_index + len < TEMP_BUFFER_SIZE) {
	            memcpy(&temp_buffer[temp_buffer_index], temp, len);
	            temp_buffer_index += len;  // Update the index in the temp_buffer
	        } else {
	            // Handle buffer overflow (optional, you may reset or stop appending)
	            break;
	        }
	    }

	}

void IBUS_data_print(){

    // Format the expected result as a decimal number for UART transmission
    char result_str_1[40];
    char result_str_2[40];
    char result_str_3[40];
    char result_str_4[40];
    char result_str_5[40];
    char result_str_6[40];
    char result_str_7[40];
    char result_str_8[40];
    char result_str_9[40];
    char result_str_10[40];

    snprintf(result_str_1, sizeof(result_str_1), "Channel 1: %d", channel_1);
    snprintf(result_str_2, sizeof(result_str_2), "Channel 2: %d", channel_2);
    snprintf(result_str_3, sizeof(result_str_3), "Channel 3: %d", channel_3);
    snprintf(result_str_4, sizeof(result_str_4), "Channel 4: %d", channel_4);
    snprintf(result_str_5, sizeof(result_str_5), "Channel 5: %d", channel_5);
    snprintf(result_str_6, sizeof(result_str_6), "Channel 6: %d", channel_6);
    snprintf(result_str_7, sizeof(result_str_7), "Channel 7: %d", channel_7);
    snprintf(result_str_8, sizeof(result_str_8), "Channel 8: %d", channel_8);
    snprintf(result_str_9, sizeof(result_str_9), "Channel 9: %d", channel_9);
    snprintf(result_str_10, sizeof(result_str_10), "Channel 10: %d", channel_10);

    // Send the results via UART

    //channel 1
    HAL_UART_Transmit(&huart2, (uint8_t*)result_str_1, strlen(result_str_1), HAL_MAX_DELAY);
    HAL_UART_Transmit(&huart2, "\r\n", 2, HAL_MAX_DELAY);

    //channel 2

    HAL_UART_Transmit(&huart2, (uint8_t*)result_str_2, strlen(result_str_2), HAL_MAX_DELAY);
    HAL_UART_Transmit(&huart2, "\r\n", 2, HAL_MAX_DELAY);

    //channel 3
    HAL_UART_Transmit(&huart2, (uint8_t*)result_str_3, strlen(result_str_3), HAL_MAX_DELAY);
    HAL_UART_Transmit(&huart2, "\r\n", 2, HAL_MAX_DELAY);

    //channel 4
    HAL_UART_Transmit(&huart2, (uint8_t*)result_str_4, strlen(result_str_4), HAL_MAX_DELAY);
    HAL_UART_Transmit(&huart2, "\r\n", 2, HAL_MAX_DELAY);

    //channel 5
    HAL_UART_Transmit(&huart2, (uint8_t*)result_str_5, strlen(result_str_5), HAL_MAX_DELAY);
    HAL_UART_Transmit(&huart2, "\r\n", 2, HAL_MAX_DELAY);

    //channel 6
    HAL_UART_Transmit(&huart2, (uint8_t*)result_str_6, strlen(result_str_6), HAL_MAX_DELAY);
    HAL_UART_Transmit(&huart2, "\r\n", 2, HAL_MAX_DELAY);

    //channel 7
    HAL_UART_Transmit(&huart2, (uint8_t*)result_str_7, strlen(result_str_7), HAL_MAX_DELAY);
    HAL_UART_Transmit(&huart2, "\r\n", 2, HAL_MAX_DELAY);

    //channel 8
    HAL_UART_Transmit(&huart2, (uint8_t*)result_str_8, strlen(result_str_8), HAL_MAX_DELAY);
    HAL_UART_Transmit(&huart2, "\r\n", 2, HAL_MAX_DELAY);

    //channel 9
    HAL_UART_Transmit(&huart2, (uint8_t*)result_str_9, strlen(result_str_9), HAL_MAX_DELAY);
    HAL_UART_Transmit(&huart2, "\r\n", 2, HAL_MAX_DELAY);

    //channel 10
    HAL_UART_Transmit(&huart2, (uint8_t*)result_str_10, strlen(result_str_10), HAL_MAX_DELAY);
    HAL_UART_Transmit(&huart2, "\r\n", 2, HAL_MAX_DELAY);

	 }

void Error_Handler(void)
{
  __disable_irq();
  while (1)
  {
  }
}
